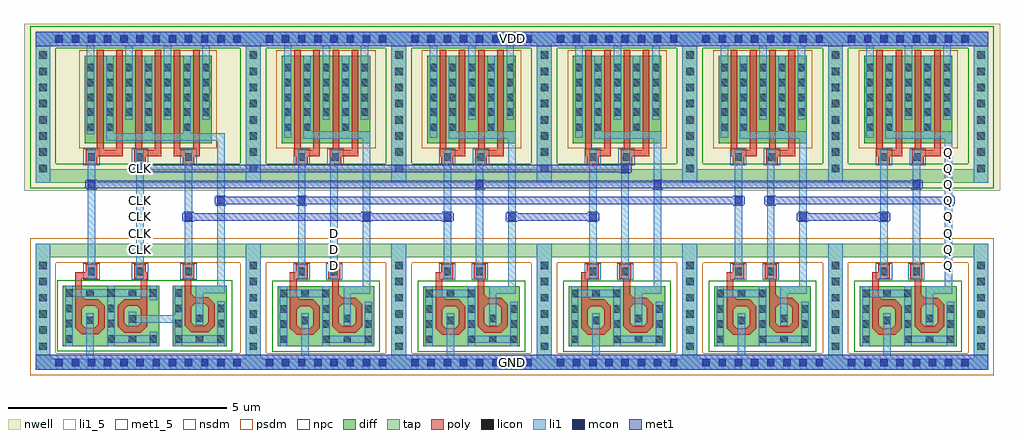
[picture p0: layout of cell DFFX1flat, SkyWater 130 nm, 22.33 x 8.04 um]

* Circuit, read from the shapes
.subckt DFFX1flat CLK D GND Q VDD
XM1 n1 n2 GND GND sky130_fd_pr__nfet_01v8 w=2.6 l=0.1459
XM2 n1 CLK n3 GND sky130_fd_pr__nfet_01v8 w=2.52 l=0.1475
XM3 n3 n4 n5 GND sky130_fd_pr__nfet_01v8 w=2.56 l=0.1459
XM4 n6 n5 GND GND sky130_fd_pr__nfet_01v8 w=2.6 l=0.1475
XM5 n6 D n4 GND sky130_fd_pr__nfet_01v8 w=2.56 l=0.1458
XM6 n7 n4 GND GND sky130_fd_pr__nfet_01v8 w=2.6 l=0.1474
XM7 n7 n2 n8 GND sky130_fd_pr__nfet_01v8 w=2.56 l=0.1459
XM8 n9 n8 GND GND sky130_fd_pr__nfet_01v8 w=2.6 l=0.1474
XM9 n9 CLK n2 GND sky130_fd_pr__nfet_01v8 w=2.56 l=0.1458
XM10 n10 n5 GND GND sky130_fd_pr__nfet_01v8 w=2.6 l=0.1474
XM11 n10 Q n11 GND sky130_fd_pr__nfet_01v8 w=2.56 l=0.1459
XM12 n12 n11 GND GND sky130_fd_pr__nfet_01v8 w=2.6 l=0.1474
XM13 n12 n2 Q GND sky130_fd_pr__nfet_01v8 w=2.56 l=0.1458
XM14 n5 n2 VDD VDD sky130_fd_pr__pfet_01v8 w=2 l=0.15 m=2
XM15 n5 CLK VDD VDD sky130_fd_pr__pfet_01v8 w=2 l=0.15 m=2
XM16 n5 n4 VDD VDD sky130_fd_pr__pfet_01v8 w=2 l=0.15 m=2
XM17 n4 n5 VDD VDD sky130_fd_pr__pfet_01v8 w=2 l=0.15 m=2
XM18 n4 D VDD VDD sky130_fd_pr__pfet_01v8 w=2 l=0.15 m=2
XM19 n8 n4 VDD VDD sky130_fd_pr__pfet_01v8 w=2 l=0.15 m=2
XM20 n8 n2 VDD VDD sky130_fd_pr__pfet_01v8 w=2 l=0.15 m=2
XM21 n2 n8 VDD VDD sky130_fd_pr__pfet_01v8 w=2 l=0.15 m=2
XM22 n2 CLK VDD VDD sky130_fd_pr__pfet_01v8 w=2 l=0.15 m=2
XM23 n11 n5 VDD VDD sky130_fd_pr__pfet_01v8 w=2 l=0.15 m=2
XM24 n11 Q VDD VDD sky130_fd_pr__pfet_01v8 w=2 l=0.15 m=2
XM25 Q n11 VDD VDD sky130_fd_pr__pfet_01v8 w=2 l=0.15 m=2
XM26 Q n2 VDD VDD sky130_fd_pr__pfet_01v8 w=2 l=0.15 m=2
.ends

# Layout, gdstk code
import gdstk
lib = gdstk.Library(unit=1e-6, precision=1e-09)
def R(c, l, rs):  # rectangles x0, y0, x1, y1
    for r in rs: c.add(gdstk.rectangle(r[:2], r[2:], *l))
def A(c, l, x, y, w, h, nx, ny, dx, dy):  # array of equal rectangles
    R(c, l, [(x+i*dx, y+j*dy, x+i*dx+w, y+j*dy+h) for i in range(nx) for j in range(ny)])
def P(c, l, *ps):  # polygons
    for p in ps: c.add(gdstk.Polygon(p, *l))
nwell = (64, 20)
diff = (65, 20)
tap = (65, 44)
poly = (66, 20)
licon = (66, 44)
li1_5 = (67, 5)
li1 = (67, 20)
mcon = (67, 44)
met1_5 = (68, 5)
met1 = (68, 20)
nsdm = (93, 44)
psdm = (94, 20)
npc = (95, 20)

dffx1flat = lib.new_cell('DFFX1flat')
R(dffx1flat, nwell, [(-0.435,3.93,21.895,7.75)])
A(dffx1flat, diff, 5.37, 0.365, 2.21, 1.38, 5, 1, 3.33, 0)
A(dffx1flat, diff, 5.465, 5.02, 2.02, 2, 5, 1, 3.33, 0)
R(dffx1flat, diff, [(0.455,0.375,2.665,1.755), (2.965,0.375,4.205,1.755), (0.955,5.02,3.855,7.02)])
A(dffx1flat, tap, 4.64, 0.085, 0.34, 2.325, 6, 1, 3.33, 0)
A(dffx1flat, tap, 4.64, 4.42, 0.34, 2.895, 6, 1, 3.33, 0)
R(dffx1flat, tap, [(-0.17,-0.17,21.63,0.085), (-0.17,0.085,0.17,2.41), (-0.17,2.41,21.63,2.72), (-0.17,4.11,21.63,4.42), (-0.17,4.42,0.17,7.315), (-0.17,7.315,21.63,7.57)])
A(dffx1flat, poly, 9.13, 0.635, 0.38, 0.04, 4, 1, 3.33, 0)
A(dffx1flat, poly, 6.77, 0.675, 0.38, 0.15, 5, 1, 3.33, 0)
A(dffx1flat, poly, 9.09, 0.675, 0.42, 0.11, 4, 1, 3.33, 0)
A(dffx1flat, poly, 5.65, 1.29, 0.53, 0.15, 5, 1, 3.33, 0)
A(dffx1flat, poly, 6.62, 1.33, 0.53, 0.15, 5, 1, 3.33, 0)
A(dffx1flat, poly, 5.65, 1.44, 0.15, 0.475, 5, 1, 3.33, 0)
A(dffx1flat, poly, 6.62, 1.48, 0.15, 0.435, 5, 1, 3.33, 0)
A(dffx1flat, poly, 3.195, 1.915, 0.27, 0.33, 6, 1, 3.33, 0)
A(dffx1flat, poly, 5.65, 1.915, 0.405, 0.15, 5, 1, 3.33, 0)
A(dffx1flat, poly, 5.785, 2.065, 0.27, 0.18, 5, 1, 3.33, 0)
A(dffx1flat, poly, 0.975, 4.535, 0.27, 0.18, 3, 1, 1.11, 0)
A(dffx1flat, poly, 5.745, 4.715, 0.59, 0.15, 5, 1, 3.33, 0)
A(dffx1flat, poly, 6.555, 4.715, 0.66, 0.15, 5, 1, 3.33, 0)
A(dffx1flat, poly, 1.235, 4.865, 0.15, 2.285, 6, 1, 0.44, 0)
A(dffx1flat, poly, 5.745, 4.865, 0.15, 2.285, 4, 1, 0.44, 0)
A(dffx1flat, poly, 9.075, 4.865, 0.15, 2.285, 4, 1, 0.44, 0)
A(dffx1flat, poly, 12.405, 4.865, 0.15, 2.285, 4, 1, 0.44, 0)
A(dffx1flat, poly, 15.735, 4.865, 0.15, 2.285, 4, 1, 0.44, 0)
A(dffx1flat, poly, 19.065, 4.865, 0.15, 2.285, 4, 1, 0.44, 0)
R(dffx1flat, poly, [(5.8,0.635,6.18,0.645), (0.885,0.645,1.265,0.795), (5.79,0.645,6.18,0.68), (1.86,0.68,2.235,0.83), (5.755,0.68,6.18,0.685), (3.395,0.685,3.775,0.835), (5.75,0.685,6.18,0.785), (5.65,0.785,5.8,1.29), (6.18,0.785,6.33,1.29), (8.98,0.785,9.13,1.29), (9.51,0.785,9.66,1.29), (12.31,0.785,12.46,1.29), (12.84,0.785,12.99,1.29), (15.64,0.785,15.79,1.29), (16.17,0.785,16.32,1.29), (18.97,0.785,19.12,1.29), (19.5,0.785,19.65,1.29), (0.735,0.795,0.885,1.3), (1.265,0.795,1.415,1.3), (6.62,0.825,6.77,1.33), (7.15,0.825,7.3,1.33), (9.95,0.825,10.1,1.33), (10.48,0.825,10.63,1.33), (13.28,0.825,13.43,1.33), (13.81,0.825,13.96,1.33), (16.61,0.825,16.76,1.33), (17.14,0.825,17.29,1.33), (19.94,0.825,20.09,1.33), (20.47,0.825,20.62,1.33), (1.71,0.83,1.86,1.3), (2.235,0.83,2.385,1.3), (3.245,0.835,3.395,1.34), (3.775,0.835,3.925,1.34), (0.735,1.3,1.265,1.45), (1.86,1.3,2.385,1.45), (3.245,1.34,3.775,1.49), (0.735,1.45,0.885,1.915), (2.235,1.45,2.385,1.915), (3.245,1.49,3.395,1.915), (0.735,1.915,1.245,2.065), (2.085,1.915,2.385,2.065), (0.975,2.065,1.245,2.245), (2.085,2.065,2.355,2.245), (5.785,4.535,6.055,4.715), (6.555,4.535,6.825,4.715), (9.115,4.535,9.385,4.715), (9.885,4.535,10.155,4.715), (12.445,4.535,12.715,4.715), (13.215,4.535,13.485,4.715), (15.775,4.535,16.045,4.715), (16.545,4.535,16.815,4.715), (19.105,4.535,19.375,4.715), (19.875,4.535,20.145,4.715), (0.975,4.715,1.825,4.865), (2.085,4.715,2.705,4.865), (2.995,4.715,3.585,4.865)])
P(dffx1flat, poly, [(0.885,1.53),(0.885,1.45),(0.965,1.45)],
  [(1.265,1.45),(1.265,1.3),(1.415,1.3)],
  [(0.885,1.22),(0.885,1.3),(0.965,1.3)],
  [(1.185,1.3),(1.265,1.3),(1.265,1.22)],
  [(0.885,0.875),(0.885,0.795),(0.965,0.795)],
  [(1.185,0.795),(1.265,0.795),(1.265,0.875)],
  [(0.735,0.795),(0.885,0.795),(0.885,0.645)],
  [(1.265,0.645),(1.265,0.795),(1.415,0.795)],
  [(1.71,1.3),(1.86,1.3),(1.86,1.45)],
  [(1.86,1.22),(1.86,1.3),(1.94,1.3)],
  [(2.155,1.3),(2.235,1.3),(2.235,1.22)],
  [(1.86,0.91),(1.86,0.83),(1.94,0.83)],
  [(2.155,0.83),(2.235,0.83),(2.235,0.91)],
  [(1.71,0.83),(1.86,0.83),(1.86,0.68)],
  [(2.235,0.68),(2.235,0.83),(2.385,0.83)],
  [(3.395,1.57),(3.395,1.49),(3.475,1.49)],
  [(3.775,1.49),(3.775,1.34),(3.925,1.34)],
  [(3.395,1.26),(3.395,1.34),(3.475,1.34)],
  [(3.695,1.34),(3.775,1.34),(3.775,1.26)],
  [(3.395,0.915),(3.395,0.835),(3.475,0.835)],
  [(3.695,0.835),(3.775,0.835),(3.775,0.915)],
  [(3.245,0.835),(3.395,0.835),(3.395,0.685)],
  [(3.775,0.685),(3.775,0.835),(3.925,0.835)],
  [(5.8,1.52),(5.8,1.44),(5.88,1.44)],
  [(6.77,1.56),(6.77,1.48),(6.85,1.48)],
  [(6.18,1.44),(6.18,1.29),(6.33,1.29)],
  [(5.8,1.21),(5.8,1.29),(5.88,1.29)],
  [(6.1,1.29),(6.18,1.29),(6.18,1.21)],
  [(5.8,0.865),(5.8,0.785),(5.88,0.785)],
  [(6.1,0.785),(6.18,0.785),(6.18,0.865)],
  [(5.65,0.785),(5.75,0.785),(5.75,0.685)],
  [(5.75,0.685),(5.755,0.685),(5.755,0.68)],
  [(5.755,0.68),(5.79,0.68),(5.79,0.645)],
  [(5.79,0.645),(5.8,0.645),(5.8,0.635)],
  [(6.18,0.635),(6.18,0.785),(6.33,0.785)],
  [(7.15,1.48),(7.15,1.33),(7.3,1.33)],
  [(6.77,1.25),(6.77,1.33),(6.85,1.33)],
  [(7.07,1.33),(7.15,1.33),(7.15,1.25)],
  [(6.77,0.905),(6.77,0.825),(6.85,0.825)],
  [(7.07,0.825),(7.15,0.825),(7.15,0.905)],
  [(6.62,0.825),(6.77,0.825),(6.77,0.675)],
  [(7.15,0.675),(7.15,0.825),(7.3,0.825)],
  [(9.13,1.52),(9.13,1.44),(9.21,1.44)],
  [(10.1,1.56),(10.1,1.48),(10.18,1.48)],
  [(9.51,1.44),(9.51,1.29),(9.66,1.29)],
  [(9.13,1.21),(9.13,1.29),(9.21,1.29)],
  [(9.43,1.29),(9.51,1.29),(9.51,1.21)],
  [(9.13,0.865),(9.13,0.785),(9.21,0.785)],
  [(9.43,0.785),(9.51,0.785),(9.51,0.865)],
  [(8.98,0.785),(9.09,0.785),(9.09,0.675)],
  [(9.09,0.675),(9.13,0.675),(9.13,0.635)],
  [(9.51,0.635),(9.51,0.785),(9.66,0.785)],
  [(10.48,1.48),(10.48,1.33),(10.63,1.33)],
  [(10.1,1.25),(10.1,1.33),(10.18,1.33)],
  [(10.4,1.33),(10.48,1.33),(10.48,1.25)],
  [(10.1,0.905),(10.1,0.825),(10.18,0.825)],
  [(10.4,0.825),(10.48,0.825),(10.48,0.905)],
  [(9.95,0.825),(10.1,0.825),(10.1,0.675)],
  [(10.48,0.675),(10.48,0.825),(10.63,0.825)],
  [(12.46,1.52),(12.46,1.44),(12.54,1.44)],
  [(13.43,1.56),(13.43,1.48),(13.51,1.48)],
  [(12.84,1.44),(12.84,1.29),(12.99,1.29)],
  [(12.46,1.21),(12.46,1.29),(12.54,1.29)],
  [(12.76,1.29),(12.84,1.29),(12.84,1.21)],
  [(12.46,0.865),(12.46,0.785),(12.54,0.785)],
  [(12.76,0.785),(12.84,0.785),(12.84,0.865)],
  [(12.31,0.785),(12.42,0.785),(12.42,0.675)],
  [(12.42,0.675),(12.46,0.675),(12.46,0.635)],
  [(12.84,0.635),(12.84,0.785),(12.99,0.785)],
  [(13.81,1.48),(13.81,1.33),(13.96,1.33)],
  [(13.43,1.25),(13.43,1.33),(13.51,1.33)],
  [(13.73,1.33),(13.81,1.33),(13.81,1.25)],
  [(13.43,0.905),(13.43,0.825),(13.51,0.825)],
  [(13.73,0.825),(13.81,0.825),(13.81,0.905)],
  [(13.28,0.825),(13.43,0.825),(13.43,0.675)],
  [(13.81,0.675),(13.81,0.825),(13.96,0.825)],
  [(15.79,1.52),(15.79,1.44),(15.87,1.44)],
  [(16.76,1.56),(16.76,1.48),(16.84,1.48)],
  [(16.17,1.44),(16.17,1.29),(16.32,1.29)],
  [(15.79,1.21),(15.79,1.29),(15.87,1.29)],
  [(16.09,1.29),(16.17,1.29),(16.17,1.21)],
  [(15.79,0.865),(15.79,0.785),(15.87,0.785)],
  [(16.09,0.785),(16.17,0.785),(16.17,0.865)],
  [(15.64,0.785),(15.75,0.785),(15.75,0.675)],
  [(15.75,0.675),(15.79,0.675),(15.79,0.635)],
  [(16.17,0.635),(16.17,0.785),(16.32,0.785)],
  [(17.14,1.48),(17.14,1.33),(17.29,1.33)],
  [(16.76,1.25),(16.76,1.33),(16.84,1.33)],
  [(17.06,1.33),(17.14,1.33),(17.14,1.25)],
  [(16.76,0.905),(16.76,0.825),(16.84,0.825)],
  [(17.06,0.825),(17.14,0.825),(17.14,0.905)],
  [(16.61,0.825),(16.76,0.825),(16.76,0.675)],
  [(17.14,0.675),(17.14,0.825),(17.29,0.825)],
  [(19.12,1.52),(19.12,1.44),(19.2,1.44)],
  [(20.09,1.56),(20.09,1.48),(20.17,1.48)],
  [(19.5,1.44),(19.5,1.29),(19.65,1.29)],
  [(19.12,1.21),(19.12,1.29),(19.2,1.29)],
  [(19.42,1.29),(19.5,1.29),(19.5,1.21)],
  [(19.12,0.865),(19.12,0.785),(19.2,0.785)],
  [(19.42,0.785),(19.5,0.785),(19.5,0.865)],
  [(18.97,0.785),(19.08,0.785),(19.08,0.675)],
  [(19.08,0.675),(19.12,0.675),(19.12,0.635)],
  [(19.5,0.635),(19.5,0.785),(19.65,0.785)],
  [(20.47,1.48),(20.47,1.33),(20.62,1.33)],
  [(20.09,1.25),(20.09,1.33),(20.17,1.33)],
  [(20.39,1.33),(20.47,1.33),(20.47,1.25)],
  [(20.09,0.905),(20.09,0.825),(20.17,0.825)],
  [(20.39,0.825),(20.47,0.825),(20.47,0.905)],
  [(19.94,0.825),(20.09,0.825),(20.09,0.675)],
  [(20.47,0.675),(20.47,0.825),(20.62,0.825)])
A(dffx1flat, licon, 0.285, -0.085, 0.17, 0.17, 12, 2, 0.37, 7.4)
A(dffx1flat, licon, 5.095, -0.085, 0.17, 0.17, 8, 2, 0.37, 7.4)
A(dffx1flat, licon, 8.425, -0.085, 0.17, 0.17, 8, 2, 0.37, 7.4)
A(dffx1flat, licon, 11.755, -0.085, 0.17, 0.17, 8, 2, 0.37, 7.4)
A(dffx1flat, licon, 15.085, -0.085, 0.17, 0.17, 8, 2, 0.37, 7.4)
A(dffx1flat, licon, 18.415, -0.085, 0.17, 0.17, 8, 2, 0.37, 7.4)
A(dffx1flat, licon, -0.085, 0.285, 0.17, 0.17, 1, 6, 0, 0.37)
A(dffx1flat, licon, 4.725, 0.285, 0.17, 0.17, 6, 6, 3.33, 0.37)
A(dffx1flat, licon, 6.39, 0.445, 0.17, 0.17, 3, 1, 0.485, 0)
A(dffx1flat, licon, 9.72, 0.445, 0.17, 0.17, 3, 1, 0.485, 0)
A(dffx1flat, licon, 13.05, 0.445, 0.17, 0.17, 3, 1, 0.485, 0)
A(dffx1flat, licon, 16.38, 0.445, 0.17, 0.17, 3, 1, 0.485, 0)
A(dffx1flat, licon, 19.71, 0.445, 0.17, 0.17, 3, 1, 0.485, 0)
A(dffx1flat, licon, 1.475, 0.455, 0.17, 0.17, 3, 1, 0.485, 0)
A(dffx1flat, licon, 3.015, 0.455, 0.17, 0.17, 3, 1, 0.485, 0)
A(dffx1flat, licon, 5.42, 0.795, 0.17, 0.17, 3, 2, 0.97, 0.34)
A(dffx1flat, licon, 8.75, 0.795, 0.17, 0.17, 3, 2, 0.97, 0.34)
A(dffx1flat, licon, 12.08, 0.795, 0.17, 0.17, 3, 2, 0.97, 0.34)
A(dffx1flat, licon, 15.41, 0.795, 0.17, 0.17, 3, 2, 0.97, 0.34)
A(dffx1flat, licon, 18.74, 0.795, 0.17, 0.17, 3, 2, 0.97, 0.34)
A(dffx1flat, licon, 5.905, 0.87, 0.17, 0.17, 5, 1, 3.33, 0)
A(dffx1flat, licon, 6.875, 0.915, 0.17, 0.17, 5, 1, 3.33, 0)
A(dffx1flat, licon, 5.42, 1.495, 0.17, 0.17, 3, 1, 0.485, 0)
A(dffx1flat, licon, 8.75, 1.495, 0.17, 0.17, 3, 1, 0.485, 0)
A(dffx1flat, licon, 12.08, 1.495, 0.17, 0.17, 3, 1, 0.485, 0)
A(dffx1flat, licon, 15.41, 1.495, 0.17, 0.17, 3, 1, 0.485, 0)
A(dffx1flat, licon, 18.74, 1.495, 0.17, 0.17, 3, 1, 0.485, 0)
A(dffx1flat, licon, 0.505, 1.505, 0.17, 0.17, 5, 1, 0.485, 0)
A(dffx1flat, licon, 1.025, 1.995, 0.17, 0.17, 3, 2, 1.11, 2.62)
A(dffx1flat, licon, -0.085, 4.355, 0.17, 0.17, 1, 8, 0, 0.37)
A(dffx1flat, licon, 4.725, 4.355, 0.17, 0.17, 6, 8, 3.33, 0.37)
A(dffx1flat, licon, 1.445, 5.295, 0.17, 0.17, 3, 1, 0.88, 0)
A(dffx1flat, licon, 1.005, 5.64, 0.17, 0.17, 7, 4, 0.44, 0.34)
A(dffx1flat, licon, 5.515, 5.64, 0.17, 0.17, 5, 4, 0.44, 0.34)
A(dffx1flat, licon, 8.845, 5.64, 0.17, 0.17, 5, 4, 0.44, 0.34)
A(dffx1flat, licon, 12.175, 5.64, 0.17, 0.17, 5, 4, 0.44, 0.34)
A(dffx1flat, licon, 15.505, 5.64, 0.17, 0.17, 5, 4, 0.44, 0.34)
A(dffx1flat, licon, 18.835, 5.64, 0.17, 0.17, 5, 4, 0.44, 0.34)
R(dffx1flat, licon, [(5.42,0.445,5.59,0.615), (8.75,0.445,8.92,0.615), (12.08,0.445,12.25,0.615), (15.41,0.445,15.58,0.615), (18.74,0.445,18.91,0.615), (0.505,0.455,0.675,0.625), (0.505,0.805,0.675,0.975), (1.475,0.805,1.645,0.975), (3.015,0.805,3.185,0.975), (3.985,0.805,4.155,0.975), (0.99,0.88,1.16,1.05), (1.965,0.91,2.135,1.08), (3.5,0.925,3.67,1.095), (0.505,1.145,0.675,1.315), (1.475,1.145,1.645,1.315), (3.015,1.145,3.185,1.315), (3.985,1.145,4.155,1.315), (3.015,1.505,3.185,1.675), (5.835,1.995,6.005,2.165), (6.575,1.995,6.745,2.165), (9.165,1.995,9.335,2.165), (9.905,1.995,10.075,2.165), (12.495,1.995,12.665,2.165), (13.235,1.995,13.405,2.165), (15.825,1.995,15.995,2.165), (16.565,1.995,16.735,2.165), (19.155,1.995,19.325,2.165), (19.895,1.995,20.065,2.165), (5.835,4.615,6.005,4.785), (6.605,4.615,6.775,4.785), (9.165,4.615,9.335,4.785), (9.935,4.615,10.105,4.785), (12.495,4.615,12.665,4.785), (13.265,4.615,13.435,4.785), (15.825,4.615,15.995,4.785), (16.595,4.615,16.765,4.785), (19.155,4.615,19.325,4.785), (19.925,4.615,20.095,4.785), (1.005,5.295,1.175,5.465), (5.515,5.295,5.685,5.465), (5.955,5.295,6.125,5.465), (6.835,5.295,7.005,5.465), (8.845,5.295,9.015,5.465), (9.285,5.295,9.455,5.465), (10.165,5.295,10.335,5.465), (12.175,5.295,12.345,5.465), (12.615,5.295,12.785,5.465), (13.495,5.295,13.665,5.465), (15.505,5.295,15.675,5.465), (15.945,5.295,16.115,5.465), (16.825,5.295,16.995,5.465), (18.835,5.295,19.005,5.465), (19.275,5.295,19.445,5.465), (20.155,5.295,20.325,5.465)])
A(dffx1flat, li1_5, 6.575, 2.135, 0.17, 0.17, 1, 3, 0, 0.37)
A(dffx1flat, li1_5, 20.635, 2.135, 0.17, 0.17, 1, 8, 0, 0.37)
A(dffx1flat, li1_5, 2.135, 2.505, 0.17, 0.17, 1, 4, 0, 0.37)
R(dffx1flat, li1_5, [(2.135,4.355,2.305,4.525)])
A(dffx1flat, li1, 4.64, 0.17, 0.34, 2.55, 6, 1, 3.33, 0)
A(dffx1flat, li1, 5.905, 0.17, 0.17, 0.95, 5, 1, 3.33, 0)
A(dffx1flat, li1, 5.42, 0.365, 0.17, 1.13, 5, 1, 3.33, 0)
A(dffx1flat, li1, 6.39, 0.445, 1.14, 0.17, 5, 1, 3.33, 0)
A(dffx1flat, li1, 6.39, 0.615, 0.17, 0.88, 5, 1, 3.33, 0)
A(dffx1flat, li1, 7.36, 0.615, 0.17, 0.77, 5, 1, 3.33, 0)
A(dffx1flat, li1, 6.875, 0.835, 0.17, 0.735, 5, 1, 3.33, 0)
A(dffx1flat, li1, 5.42, 1.495, 1.14, 0.17, 5, 1, 3.33, 0)
A(dffx1flat, li1, 6.875, 1.57, 0.61, 0.17, 5, 1, 3.33, 0)
A(dffx1flat, li1, 0.505, 1.675, 0.17, 0.08, 3, 1, 0.97, 0)
A(dffx1flat, li1, 7.315, 1.74, 0.17, 3.375, 5, 1, 3.33, 0)
A(dffx1flat, li1, 1.025, 1.915, 0.17, 2.95, 3, 1, 1.11, 0)
A(dffx1flat, li1, 5.835, 1.915, 0.17, 2.95, 5, 1, 3.33, 0)
A(dffx1flat, li1, 6.575, 1.915, 0.17, 2.62, 5, 1, 3.33, 0)
A(dffx1flat, li1, 4.64, 4.11, 0.34, 3.12, 6, 1, 3.33, 0)
A(dffx1flat, li1, 6.575, 4.535, 0.2, 0.175, 5, 1, 3.33, 0)
A(dffx1flat, li1, 6.605, 4.71, 0.17, 0.155, 5, 1, 3.33, 0)
A(dffx1flat, li1, 5.955, 5.115, 1.53, 0.17, 5, 1, 3.33, 0)
A(dffx1flat, li1, 5.515, 5.135, 0.17, 2.095, 5, 1, 3.33, 0)
A(dffx1flat, li1, 1.445, 5.24, 0.17, 1.78, 3, 1, 0.88, 0)
A(dffx1flat, li1, 1.885, 5.555, 0.17, 1.675, 3, 1, 0.88, 0)
R(dffx1flat, li1, [(-0.17,-0.17,21.63,0.17), (-0.17,0.17,0.17,2.72), (0.99,0.17,1.16,1.13), (6.39,0.365,6.56,0.445), (7.36,0.365,7.53,0.445), (9.72,0.365,9.89,0.445), (10.69,0.365,10.86,0.445), (13.05,0.365,13.22,0.445), (14.02,0.365,14.19,0.445), (16.38,0.365,16.55,0.445), (17.35,0.365,17.52,0.445), (19.71,0.365,19.88,0.445), (20.68,0.365,20.85,0.445), (0.505,0.375,0.675,1.505), (1.475,0.375,1.645,0.455), (2.445,0.375,2.615,0.455), (3.015,0.375,3.185,0.455), (3.985,0.375,4.155,0.455), (1.475,0.455,2.615,0.625), (3.015,0.455,4.155,0.625), (1.475,0.625,1.645,1.505), (2.445,0.625,2.615,0.705), (3.015,0.625,3.185,0.91), (3.985,0.625,4.155,1.395), (1.965,0.83,2.135,0.91), (3.5,0.845,3.67,1.58), (1.965,0.91,3.185,1.08), (1.965,1.08,2.135,1.16), (3.015,1.08,3.185,1.755), (2.445,1.425,2.615,1.505), (0.505,1.505,2.615,1.675), (3.5,1.58,4.155,1.75), (5.42,1.665,5.59,1.745), (6.39,1.665,6.56,1.745), (8.75,1.665,8.92,1.745), (9.72,1.665,9.89,1.745), (12.08,1.665,12.25,1.745), (13.05,1.665,13.22,1.745), (15.41,1.665,15.58,1.745), (16.38,1.665,16.55,1.745), (18.74,1.665,18.91,1.745), (19.71,1.665,19.88,1.745), (3.985,1.75,4.155,5.07), (-0.17,4.11,0.17,7.23), (1.445,5.07,4.155,5.24), (1.005,5.215,1.175,7.23), (5.955,5.285,6.125,7.02), (6.835,5.285,7.005,7.02), (9.285,5.285,9.455,7.02), (10.165,5.285,10.335,7.02), (12.615,5.285,12.785,7.02), (13.495,5.285,13.665,7.02), (15.945,5.285,16.115,7.02), (16.825,5.285,16.995,7.02), (19.275,5.285,19.445,7.02), (20.155,5.285,20.325,7.02), (6.395,5.555,6.565,7.23), (7.275,5.555,7.445,7.23), (9.725,5.555,9.895,7.23), (10.605,5.555,10.775,7.23), (13.055,5.555,13.225,7.23), (13.935,5.555,14.105,7.23), (16.385,5.555,16.555,7.23), (17.265,5.555,17.435,7.23), (19.715,5.555,19.885,7.23), (20.595,5.555,20.765,7.23), (-0.17,7.23,21.63,7.57)])
A(dffx1flat, mcon, 0.285, -0.085, 0.17, 0.17, 12, 2, 0.37, 7.4)
A(dffx1flat, mcon, 5.095, -0.085, 0.17, 0.17, 8, 2, 0.37, 7.4)
A(dffx1flat, mcon, 8.425, -0.085, 0.17, 0.17, 8, 2, 0.37, 7.4)
A(dffx1flat, mcon, 11.755, -0.085, 0.17, 0.17, 8, 2, 0.37, 7.4)
A(dffx1flat, mcon, 15.085, -0.085, 0.17, 0.17, 8, 2, 0.37, 7.4)
A(dffx1flat, mcon, 18.415, -0.085, 0.17, 0.17, 8, 2, 0.37, 7.4)
R(dffx1flat, mcon, [(3.245,3.245,3.415,3.415), (7.315,3.245,7.485,3.415), (9.165,3.245,9.335,3.415), (10.645,3.245,10.815,3.415), (12.495,3.245,12.665,3.415), (17.305,3.245,17.475,3.415), (19.155,3.245,19.325,3.415), (3.985,3.615,4.155,3.785), (5.835,3.615,6.005,3.785), (15.825,3.615,15.995,3.785), (16.565,3.615,16.735,3.785), (20.635,3.615,20.805,3.785), (1.025,3.985,1.195,4.155), (9.905,3.985,10.075,4.155), (13.975,3.985,14.145,4.155), (19.895,3.985,20.065,4.155), (2.135,4.355,2.305,4.525), (13.235,4.355,13.405,4.525)])
R(dffx1flat, met1_5, [(-0.17,-0.17,21.63,0.17), (-0.17,7.23,21.63,7.57)])
R(dffx1flat, met1, [(-0.17,-0.17,21.63,0.17), (3.215,3.215,3.445,3.245), (7.285,3.215,7.515,3.245), (9.135,3.215,9.365,3.245), (10.615,3.215,10.845,3.245), (12.465,3.215,12.695,3.245), (17.275,3.215,17.505,3.245), (19.125,3.215,19.355,3.245), (3.185,3.245,9.395,3.415), (10.585,3.245,12.725,3.415), (17.245,3.245,19.385,3.415), (3.215,3.415,3.445,3.445), (7.285,3.415,7.515,3.445), (9.135,3.415,9.365,3.445), (10.615,3.415,10.845,3.445), (12.465,3.415,12.695,3.445), (17.275,3.415,17.505,3.445), (19.125,3.415,19.355,3.445), (3.955,3.585,4.185,3.615), (5.805,3.585,6.035,3.615), (15.795,3.585,16.025,3.615), (16.535,3.585,16.765,3.615), (20.605,3.585,20.835,3.615), (3.925,3.615,16.055,3.785), (16.505,3.615,20.865,3.785), (3.955,3.785,4.185,3.815), (5.805,3.785,6.035,3.815), (15.795,3.785,16.025,3.815), (16.535,3.785,16.765,3.815), (20.605,3.785,20.835,3.815), (0.995,3.955,1.225,3.985), (9.875,3.955,10.105,3.985), (13.945,3.955,14.175,3.985), (19.865,3.955,20.095,3.985), (0.965,3.985,20.125,4.155), (0.995,4.155,1.225,4.185), (9.875,4.155,10.105,4.185), (13.945,4.155,14.175,4.185), (19.865,4.155,20.095,4.185), (2.105,4.325,2.335,4.355), (13.205,4.325,13.435,4.355), (2.075,4.355,13.465,4.525), (2.105,4.525,2.335,4.555), (13.205,4.525,13.435,4.555), (-0.17,7.23,21.63,7.57)])
A(dffx1flat, nsdm, 5.245, 0.24, 2.46, 1.63, 5, 1, 3.33, 0)
A(dffx1flat, nsdm, 4.515, 4.545, 0.59, 2.645, 6, 1, 3.33, 0)
R(dffx1flat, nsdm, [(0.33,0.25,4.33,1.88), (-0.295,3.985,21.755,4.545), (-0.295,4.545,0.295,7.19), (-0.295,7.19,21.755,7.695)])
A(dffx1flat, psdm, 4.515, 0.21, 0.59, 2.075, 6, 1, 3.33, 0)
A(dffx1flat, psdm, 5.34, 4.895, 2.27, 2.25, 5, 1, 3.33, 0)
R(dffx1flat, psdm, [(-0.295,-0.295,21.755,0.21), (-0.295,0.21,0.295,2.285), (-0.295,2.285,21.755,2.845), (0.83,4.895,3.98,7.145)])
A(dffx1flat, npc, 0.925, 1.895, 0.37, 0.37, 3, 2, 1.11, 2.62)
R(dffx1flat, npc, [(5.735,1.895,6.105,2.265), (6.475,1.895,6.845,2.265), (9.065,1.895,9.435,2.265), (9.805,1.895,10.175,2.265), (12.395,1.895,12.765,2.265), (13.135,1.895,13.505,2.265), (15.725,1.895,16.095,2.265), (16.465,1.895,16.835,2.265), (19.055,1.895,19.425,2.265), (19.795,1.895,20.165,2.265), (5.735,4.515,6.105,4.885), (6.505,4.515,6.875,4.885), (9.065,4.515,9.435,4.885), (9.835,4.515,10.205,4.885), (12.395,4.515,12.765,4.885), (13.165,4.515,13.535,4.885), (15.725,4.515,16.095,4.885), (16.495,4.515,16.865,4.885), (19.055,4.515,19.425,4.885), (19.825,4.515,20.195,4.885)])
dffx1flat.add(gdstk.Label('Q', (20.72,3.7), layer=67, texttype=5))
dffx1flat.add(gdstk.Label('Q', (20.72,4.07), layer=67, texttype=5))
dffx1flat.add(gdstk.Label('Q', (20.72,4.44), layer=67, texttype=5))
dffx1flat.add(gdstk.Label('Q', (20.72,4.81), layer=67, texttype=5))
dffx1flat.add(gdstk.Label('Q', (20.72,3.33), layer=67, texttype=5))
dffx1flat.add(gdstk.Label('Q', (20.72,2.96), layer=67, texttype=5))
dffx1flat.add(gdstk.Label('Q', (20.72,2.59), layer=67, texttype=5))
dffx1flat.add(gdstk.Label('Q', (20.72,2.22), layer=67, texttype=5))
dffx1flat.add(gdstk.Label('D', (6.66,2.96), layer=67, texttype=5))
dffx1flat.add(gdstk.Label('D', (6.66,2.59), layer=67, texttype=5))
dffx1flat.add(gdstk.Label('D', (6.66,2.22), layer=67, texttype=5))
dffx1flat.add(gdstk.Label('CLK', (2.22,4.44), layer=67, texttype=5))
dffx1flat.add(gdstk.Label('CLK', (2.22,3.7), layer=67, texttype=5))
dffx1flat.add(gdstk.Label('CLK', (2.22,3.33), layer=67, texttype=5))
dffx1flat.add(gdstk.Label('CLK', (2.22,2.96), layer=67, texttype=5))
dffx1flat.add(gdstk.Label('CLK', (2.22,2.59), layer=67, texttype=5))
dffx1flat.add(gdstk.Label('VDD', (10.73,7.4), layer=68, texttype=5))
dffx1flat.add(gdstk.Label('GND', (10.73,0), layer=68, texttype=5))

lib.write_gds('DFFX1flat.gds')
